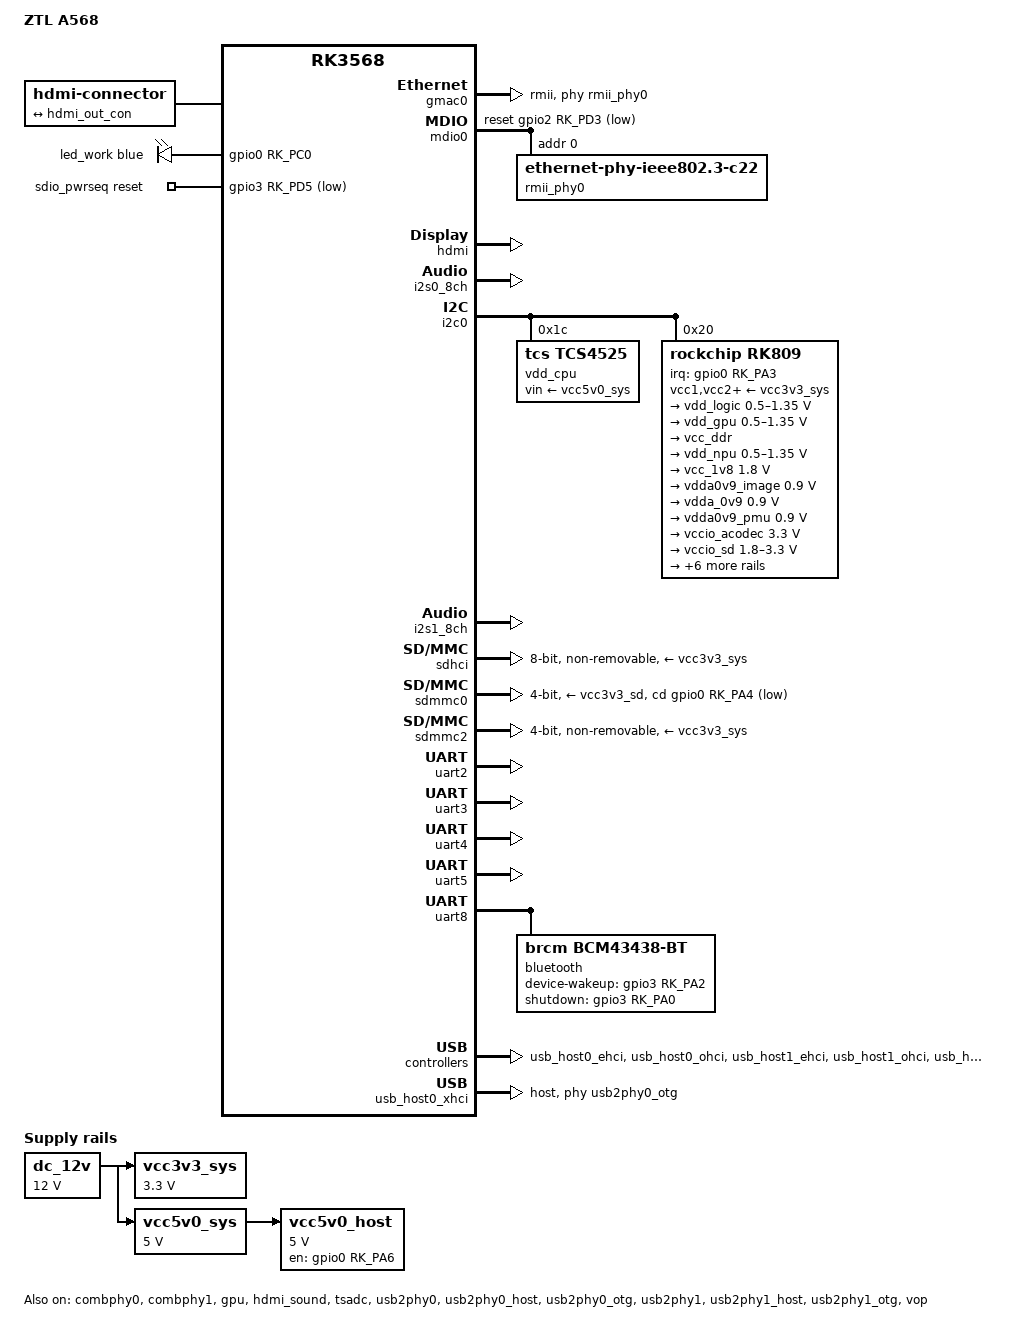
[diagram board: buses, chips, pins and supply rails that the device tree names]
// SPDX-License-Identifier: (GPL-2.0+ OR MIT)
/*
 * ZTL A568 board (PCB model DC_A568_V06)
 *
 * RK3568, 4GB DDR4, 32GB eMMC, AP6212A1 (BCM43430 SDIO wifi + UART bt),
 * Realtek RTL8201F 100M RMII ethernet PHY, 4x USB-A (USB2 x2, USB3 x1,
 * OTG-as-host x1), HDMI, onboard USB hub, RK809 PMIC.
 *
 * Independently written for mainline from hardware facts observed in the
 * OEM firmware's device tree and verified on the board during bring-up.
 * Bring-up findings applied:
 *
 *  1. USB: a single vcc5v0_host regulator on GPIO0_A6 feeds the phy-supply
 *     of all four usb2phy ports. (The vendor 5.10 DTB carried two regulator
 *     nodes claiming the same GPIO; the loser failed pinctrl and never
 *     registered, leaving three phy-supplies dangling -> dwc3 deferred
 *     forever.)
 *  2. OTG port (usb@fcc00000): the board has no USB ID pin, so dr_mode is
 *     forced to "host" and no extcon is wired (mainline inno-usb2 would
 *     otherwise read a floating ID and stay in peripheral mode).
 *  3. Ethernet: RMII mode, RTL8201F. PHY reset is done at bus level via
 *     reset-gpios + reset-delay-us / reset-post-delay-us on the mdio bus
 *     node (the MAC-node snps,reset-* legacy props double-claim the GPIO
 *     and cause the bus registration to fail with -EBUSY). CLK_MAC0_OUT
 *     feeds the PHY a 25MHz reference clock and needs explicit enabling,
 *     see the gmac0 node below.
 */

/dts-v1/;
#include <dt-bindings/gpio/gpio.h>
#include <dt-bindings/leds/common.h>
#include <dt-bindings/pinctrl/rockchip.h>
#include <dt-bindings/soc/rockchip,vop2.h>
#include "rk3568.dtsi"

/ {
	model = "ZTL A568";
	compatible = "ztl,a568", "rockchip,rk3568";

	aliases {
		ethernet0 = &gmac0;
		mmc0 = &sdmmc0;
		mmc1 = &sdhci;
		mmc2 = &sdmmc2;
	};

	chosen: chosen {
		stdout-path = "serial2:1500000n8";
	};

	dc_12v: regulator-dc-12v {
		compatible = "regulator-fixed";
		regulator-name = "dc_12v";
		regulator-always-on;
		regulator-boot-on;
		regulator-min-microvolt = <12000000>;
		regulator-max-microvolt = <12000000>;
	};

	hdmi-con {
		compatible = "hdmi-connector";
		type = "a";

		port {
			hdmi_con_in: endpoint {
				remote-endpoint = <&hdmi_out_con>;
			};
		};
	};

	leds {
		compatible = "gpio-leds";

		led_work: led-0 {
			gpios = <&gpio0 RK_PC0 GPIO_ACTIVE_HIGH>;
			function = LED_FUNCTION_HEARTBEAT;
			color = <LED_COLOR_ID_BLUE>;
			linux,default-trigger = "heartbeat";
			pinctrl-names = "default";
			pinctrl-0 = <&led_work_en>;
		};
	};

	sdio_pwrseq: sdio-pwrseq {
		compatible = "mmc-pwrseq-simple";
		clocks = <&rk809 1>;
		clock-names = "ext_clock";
		pinctrl-names = "default";
		pinctrl-0 = <&wifi_enable_h>;
		post-power-on-delay-ms = <100>;
		power-off-delay-us = <300>;
		reset-gpios = <&gpio3 RK_PD5 GPIO_ACTIVE_LOW>;
	};

	vcc3v3_sys: regulator-vcc3v3-sys {
		compatible = "regulator-fixed";
		regulator-name = "vcc3v3_sys";
		regulator-always-on;
		regulator-boot-on;
		regulator-min-microvolt = <3300000>;
		regulator-max-microvolt = <3300000>;
		vin-supply = <&dc_12v>;
	};

	vcc5v0_sys: regulator-vcc5v0-sys {
		compatible = "regulator-fixed";
		regulator-name = "vcc5v0_sys";
		regulator-always-on;
		regulator-boot-on;
		regulator-min-microvolt = <5000000>;
		regulator-max-microvolt = <5000000>;
		vin-supply = <&dc_12v>;
	};

	/* single USB VBUS enable for all host ports (see header comment 1) */
	vcc5v0_host: regulator-vcc5v0-host {
		compatible = "regulator-fixed";
		enable-active-high;
		gpio = <&gpio0 RK_PA6 GPIO_ACTIVE_HIGH>;
		pinctrl-names = "default";
		pinctrl-0 = <&vcc5v0_host_en>;
		regulator-name = "vcc5v0_host";
		regulator-always-on;
		regulator-boot-on;
		regulator-min-microvolt = <5000000>;
		regulator-max-microvolt = <5000000>;
		vin-supply = <&vcc5v0_sys>;
	};

	rk809-sound {
		compatible = "simple-audio-card";
		simple-audio-card,format = "i2s";
		simple-audio-card,name = "Analog RK809";
		simple-audio-card,mclk-fs = <256>;

		simple-audio-card,cpu {
			sound-dai = <&i2s1_8ch>;
		};
		simple-audio-card,codec {
			sound-dai = <&rk809>;
		};
	};
};

&combphy0 {
	status = "okay";
};

&combphy1 {
	status = "okay";
};

&cpu0 {
	cpu-supply = <&vdd_cpu>;
};

&cpu1 {
	cpu-supply = <&vdd_cpu>;
};

&cpu2 {
	cpu-supply = <&vdd_cpu>;
};

&cpu3 {
	cpu-supply = <&vdd_cpu>;
};

&gmac0 {
	clock_in_out = "output";
	/*
	 * CLK_MAC0_OUT drives GPIO2_C1 / eth0_refclko25m, which is wired to
	 * the RTL8201F's 25MHz external reference input. This is separate
	 * from the 50MHz RMII REF_CLK on gmac0_clkinout (GPIO2_C2).
	 *
	 * rk3568.dtsi does not request CLK_MAC0_OUT, so CCF otherwise leaves
	 * it disabled and the PHY does not respond on MDIO. Expose it to
	 * dwmac-rk as "clk_mac_ref" so the RMII bulk clock handling keeps it
	 * enabled (the binding caps the clock list at 8, hence the stock
	 * ptp_ref entry is dropped in favor of this clock; stmmac falls back
	 * to the main MAC clock for PTP). The 25MHz rate matches the board
	 * wiring / vendor DT and was verified with clk_summary on hardware.
	 */
	clocks = <&cru SCLK_GMAC0>, <&cru SCLK_GMAC0_RX_TX>,
		 <&cru SCLK_GMAC0_RX_TX>, <&cru CLK_MAC0_REFOUT>,
		 <&cru ACLK_GMAC0>, <&cru PCLK_GMAC0>,
		 <&cru SCLK_GMAC0_RX_TX>, <&cru CLK_MAC0_OUT>;
	clock-names = "stmmaceth", "mac_clk_rx",
		      "mac_clk_tx", "clk_mac_refout",
		      "aclk_mac", "pclk_mac",
		      "clk_mac_speed", "clk_mac_ref";
	assigned-clocks = <&cru CLK_MAC0_OUT>;
	assigned-clock-rates = <25000000>;
	phy-handle = <&rmii_phy0>;
	phy-mode = "rmii";
	pinctrl-names = "default";
	pinctrl-0 = <&gmac0_miim
		     &gmac0_tx_bus2
		     &gmac0_rx_bus2
		     &gmac0_clkinout
		     &eth0_pins>;
	status = "okay";
};

/*
 * PHY reset on the MDIO bus node. __mdiobus_register() claims
 * "reset-gpios" on the bus node, holds it asserted for reset-delay-us,
 * releases it, waits reset-post-delay-us, and only then scans the bus.
 * NOTE the property names: reset-assert-us / reset-deassert-us are
 * PHY-node properties and are silently IGNORED here; on the bus node the
 * defaults are just 10us / 0us, which left the RTL8201F dead. Vendor
 * timing is 20ms assert + 100ms settle; post-delay is padded to 150ms.
 */
&mdio0 {
	reset-gpios = <&gpio2 RK_PD3 GPIO_ACTIVE_LOW>;
	reset-delay-us = <20000>;
	reset-post-delay-us = <150000>;

	rmii_phy0: ethernet-phy@0 {
		compatible = "ethernet-phy-ieee802.3-c22";
		reg = <0>;
		max-speed = <100>;
		clocks = <&cru CLK_MAC0_OUT>;

		leds {
			#address-cells = <1>;
			#size-cells = <0>;

			/* green + amber PHY LEDs, ids carried over from the vendor DTB */
			led@1 {
				reg = <1>;
				color = <LED_COLOR_ID_GREEN>;
				function = LED_FUNCTION_LAN;
				default-state = "keep";
			};

			led@2 {
				reg = <2>;
				color = <LED_COLOR_ID_AMBER>;
				function = LED_FUNCTION_LAN;
				default-state = "keep";
			};
		};
	};
};

&gpu {
	mali-supply = <&vdd_gpu>;
	status = "okay";
};

&hdmi {
	avdd-0v9-supply = <&vdda0v9_image>;
	avdd-1v8-supply = <&vcca1v8_image>;
	status = "okay";
};

&hdmi_in {
	hdmi_in_vp0: endpoint {
		remote-endpoint = <&vp0_out_hdmi>;
	};
};

&hdmi_out {
	hdmi_out_con: endpoint {
		remote-endpoint = <&hdmi_con_in>;
	};
};

&hdmi_sound {
	status = "okay";
};

&i2s0_8ch {
	status = "okay";
};

&i2c0 {
	status = "okay";

	vdd_cpu: regulator@1c {
		compatible = "tcs,tcs4525";
		reg = <0x1c>;
		fcs,suspend-voltage-selector = <1>;
		regulator-name = "vdd_cpu";
		regulator-always-on;
		regulator-boot-on;
		regulator-min-microvolt = <800000>;
		regulator-max-microvolt = <1150000>;
		regulator-ramp-delay = <2300>;
		vin-supply = <&vcc5v0_sys>;

		regulator-state-mem {
			regulator-off-in-suspend;
		};
	};

	rk809: pmic@20 {
		compatible = "rockchip,rk809";
		reg = <0x20>;
		interrupt-parent = <&gpio0>;
		interrupts = <RK_PA3 IRQ_TYPE_LEVEL_LOW>;
		assigned-clocks = <&cru I2S1_MCLKOUT_TX>;
		assigned-clock-parents = <&cru CLK_I2S1_8CH_TX>;
		#clock-cells = <1>;
		clock-names = "mclk";
		clocks = <&cru I2S1_MCLKOUT_TX>;
		pinctrl-names = "default";
		pinctrl-0 = <&pmic_int>, <&i2s1m0_mclk>;
		system-power-controller;
		#sound-dai-cells = <0>;
		vcc1-supply = <&vcc3v3_sys>;
		vcc2-supply = <&vcc3v3_sys>;
		vcc3-supply = <&vcc3v3_sys>;
		vcc4-supply = <&vcc3v3_sys>;
		vcc5-supply = <&vcc3v3_sys>;
		vcc6-supply = <&vcc3v3_sys>;
		vcc7-supply = <&vcc3v3_sys>;
		vcc8-supply = <&vcc3v3_sys>;
		vcc9-supply = <&vcc3v3_sys>;
		wakeup-source;

		regulators {
			vdd_logic: DCDC_REG1 {
				regulator-name = "vdd_logic";
				regulator-always-on;
				regulator-boot-on;
				regulator-initial-mode = <0x2>;
				regulator-min-microvolt = <500000>;
				regulator-max-microvolt = <1350000>;
				regulator-ramp-delay = <6001>;

				regulator-state-mem {
					regulator-off-in-suspend;
				};
			};

			vdd_gpu: DCDC_REG2 {
				regulator-name = "vdd_gpu";
				regulator-always-on;
				regulator-initial-mode = <0x2>;
				regulator-min-microvolt = <500000>;
				regulator-max-microvolt = <1350000>;
				regulator-ramp-delay = <6001>;

				regulator-state-mem {
					regulator-off-in-suspend;
				};
			};

			vcc_ddr: DCDC_REG3 {
				regulator-name = "vcc_ddr";
				regulator-always-on;
				regulator-boot-on;
				regulator-initial-mode = <0x2>;

				regulator-state-mem {
					regulator-on-in-suspend;
				};
			};

			vdd_npu: DCDC_REG4 {
				regulator-name = "vdd_npu";
				regulator-initial-mode = <0x2>;
				regulator-min-microvolt = <500000>;
				regulator-max-microvolt = <1350000>;
				regulator-ramp-delay = <6001>;

				regulator-state-mem {
					regulator-off-in-suspend;
				};
			};

			vcc_1v8: DCDC_REG5 {
				regulator-name = "vcc_1v8";
				regulator-always-on;
				regulator-boot-on;
				regulator-min-microvolt = <1800000>;
				regulator-max-microvolt = <1800000>;

				regulator-state-mem {
					regulator-off-in-suspend;
				};
			};

			vdda0v9_image: LDO_REG1 {
				regulator-name = "vdda0v9_image";
				regulator-min-microvolt = <900000>;
				regulator-max-microvolt = <900000>;

				regulator-state-mem {
					regulator-off-in-suspend;
				};
			};

			vdda_0v9: LDO_REG2 {
				regulator-name = "vdda_0v9";
				regulator-always-on;
				regulator-boot-on;
				regulator-min-microvolt = <900000>;
				regulator-max-microvolt = <900000>;

				regulator-state-mem {
					regulator-off-in-suspend;
				};
			};

			vdda0v9_pmu: LDO_REG3 {
				regulator-name = "vdda0v9_pmu";
				regulator-always-on;
				regulator-boot-on;
				regulator-min-microvolt = <900000>;
				regulator-max-microvolt = <900000>;

				regulator-state-mem {
					regulator-on-in-suspend;
					regulator-suspend-microvolt = <900000>;
				};
			};

			vccio_acodec: LDO_REG4 {
				regulator-name = "vccio_acodec";
				regulator-always-on;
				regulator-min-microvolt = <3300000>;
				regulator-max-microvolt = <3300000>;

				regulator-state-mem {
					regulator-off-in-suspend;
				};
			};

			vccio_sd: LDO_REG5 {
				regulator-name = "vccio_sd";
				regulator-min-microvolt = <1800000>;
				regulator-max-microvolt = <3300000>;

				regulator-state-mem {
					regulator-off-in-suspend;
				};
			};

			vcc3v3_pmu: LDO_REG6 {
				regulator-name = "vcc3v3_pmu";
				regulator-always-on;
				regulator-boot-on;
				regulator-min-microvolt = <3300000>;
				regulator-max-microvolt = <3300000>;

				regulator-state-mem {
					regulator-on-in-suspend;
					regulator-suspend-microvolt = <3300000>;
				};
			};

			vcca_1v8: LDO_REG7 {
				regulator-name = "vcca_1v8";
				regulator-always-on;
				regulator-boot-on;
				regulator-min-microvolt = <1800000>;
				regulator-max-microvolt = <1800000>;

				regulator-state-mem {
					regulator-off-in-suspend;
				};
			};

			vcca1v8_pmu: LDO_REG8 {
				regulator-name = "vcca1v8_pmu";
				regulator-always-on;
				regulator-boot-on;
				regulator-min-microvolt = <1800000>;
				regulator-max-microvolt = <1800000>;

				regulator-state-mem {
					regulator-on-in-suspend;
					regulator-suspend-microvolt = <1800000>;
				};
			};

			vcca1v8_image: LDO_REG9 {
				regulator-name = "vcca1v8_image";
				regulator-min-microvolt = <1800000>;
				regulator-max-microvolt = <1800000>;

				regulator-state-mem {
					regulator-off-in-suspend;
				};
			};

			vcc_3v3: SWITCH_REG1 {
				regulator-name = "vcc_3v3";
				regulator-always-on;
				regulator-boot-on;

				regulator-state-mem {
					regulator-off-in-suspend;
				};
			};

			vcc3v3_sd: SWITCH_REG2 {
				regulator-name = "vcc3v3_sd";

				regulator-state-mem {
					regulator-off-in-suspend;
				};
			};
		};

		codec {
			rockchip,mic-in-differential;
		};
	};
};

&i2s1_8ch {
	rockchip,trcm-sync-tx-only;
	status = "okay";
};

&pinctrl {
	leds {
		led_work_en: led-work-en {
			rockchip,pins = <0 RK_PC0 RK_FUNC_GPIO &pcfg_pull_none>;
		};
	};

	pmic {
		pmic_int: pmic-int {
			rockchip,pins = <0 RK_PA3 RK_FUNC_GPIO &pcfg_pull_up>;
		};
	};

	sdio-pwrseq {
		wifi_enable_h: wifi-enable {
			rockchip,pins = <3 RK_PD5 RK_FUNC_GPIO &pcfg_pull_none>;
		};
	};

	usb {
		vcc5v0_host_en: vcc5v0-host-en {
			rockchip,pins = <0 RK_PA6 RK_FUNC_GPIO &pcfg_pull_none>;
		};
	};
};

&pmu_io_domains {
	pmuio1-supply = <&vcc3v3_pmu>;
	pmuio2-supply = <&vcc3v3_pmu>;
	vccio1-supply = <&vccio_acodec>;
	vccio2-supply = <&vcc_1v8>;
	vccio3-supply = <&vccio_sd>;
	vccio4-supply = <&vcc_1v8>;
	vccio5-supply = <&vcc_3v3>;
	vccio6-supply = <&vcc_1v8>;
	vccio7-supply = <&vcc_3v3>;
	status = "okay";
};

&sdhci {
	bus-width = <8>;
	max-frequency = <200000000>;
	mmc-hs200-1_8v;
	non-removable;
	pinctrl-names = "default";
	pinctrl-0 = <&emmc_bus8 &emmc_clk &emmc_cmd &emmc_datastrobe>;
	vmmc-supply = <&vcc3v3_sys>;
	vqmmc-supply = <&vcc_1v8>;
	status = "okay";
};

&sdmmc0 {
	bus-width = <4>;
	cap-sd-highspeed;
	cd-gpios = <&gpio0 RK_PA4 GPIO_ACTIVE_LOW>;
	disable-wp;
	pinctrl-names = "default";
	pinctrl-0 = <&sdmmc0_bus4 &sdmmc0_clk &sdmmc0_cmd &sdmmc0_det>;
	sd-uhs-sdr104;
	vmmc-supply = <&vcc3v3_sd>;
	vqmmc-supply = <&vccio_sd>;
	status = "okay";
};

&sdmmc2 {
	bus-width = <4>;
	cap-sd-highspeed;
	cap-sdio-irq;
	keep-power-in-suspend;
	mmc-pwrseq = <&sdio_pwrseq>;
	non-removable;
	pinctrl-names = "default";
	pinctrl-0 = <&sdmmc2m0_bus4 &sdmmc2m0_clk &sdmmc2m0_cmd>;
	sd-uhs-sdr104;
	vmmc-supply = <&vcc3v3_sys>;
	vqmmc-supply = <&vcc_1v8>;
	status = "okay";
};

&tsadc {
	rockchip,hw-tshut-mode = <1>;
	rockchip,hw-tshut-polarity = <0>;
	status = "okay";
};

&uart2 {
	status = "okay";
};

/* TTY headers on GPIO3 m1 muxes: rs232 TTY1/TY3 = uart4/uart3, ttl TTY4 = uart5 */
&uart3 {
	pinctrl-0 = <&uart3m1_xfer>;
	status = "okay";
};

&uart4 {
	pinctrl-0 = <&uart4m1_xfer>;
	status = "okay";
};

&uart5 {
	pinctrl-0 = <&uart5m1_xfer>;
	status = "okay";
};

&uart8 {
	pinctrl-names = "default";
	pinctrl-0 = <&uart8m0_xfer &uart8m0_ctsn &uart8m0_rtsn>;
	uart-has-rtscts;
	status = "okay";

	bluetooth {
		compatible = "brcm,bcm43438-bt";
		device-wakeup-gpios = <&gpio3 RK_PA2 GPIO_ACTIVE_HIGH>;
		shutdown-gpios = <&gpio3 RK_PA0 GPIO_ACTIVE_HIGH>;
	};
};

&usb_host0_ehci {
	status = "okay";
};

&usb_host0_ohci {
	status = "okay";
};

&usb_host0_xhci {
	dr_mode = "host";
	phys = <&usb2phy0_otg>, <&combphy0 PHY_TYPE_USB3>;
	phy-names = "usb2-phy", "usb3-phy";
	status = "okay";
};

&usb_host1_ehci {
	status = "okay";
};

&usb_host1_ohci {
	status = "okay";
};

&usb_host1_xhci {
	status = "okay";
};

&usb2phy0 {
	status = "okay";
};

&usb2phy0_host {
	phy-supply = <&vcc5v0_host>;
	status = "okay";
};

&usb2phy0_otg {
	phy-supply = <&vcc5v0_host>;
	status = "okay";
};

&usb2phy1 {
	status = "okay";
};

&usb2phy1_host {
	phy-supply = <&vcc5v0_host>;
	status = "okay";
};

&usb2phy1_otg {
	phy-supply = <&vcc5v0_host>;
	status = "okay";
};

&vop {
	assigned-clocks = <&cru DCLK_VOP0>, <&cru PLL_VPLL>, <&cru DCLK_VOP1>;
	assigned-clock-parents = <&pmucru PLL_HPLL>, <&xin24m>, <&cru PLL_VPLL>;
	assigned-clock-rates = <0>, <132000000>, <132000000>;
	status = "okay";
};

&vop_mmu {
	status = "okay";
};

&vp0 {
	vp0_out_hdmi: endpoint@ROCKCHIP_VOP2_EP_HDMI0 {
		reg = <ROCKCHIP_VOP2_EP_HDMI0>;
		remote-endpoint = <&hdmi_in_vp0>;
	};
};
